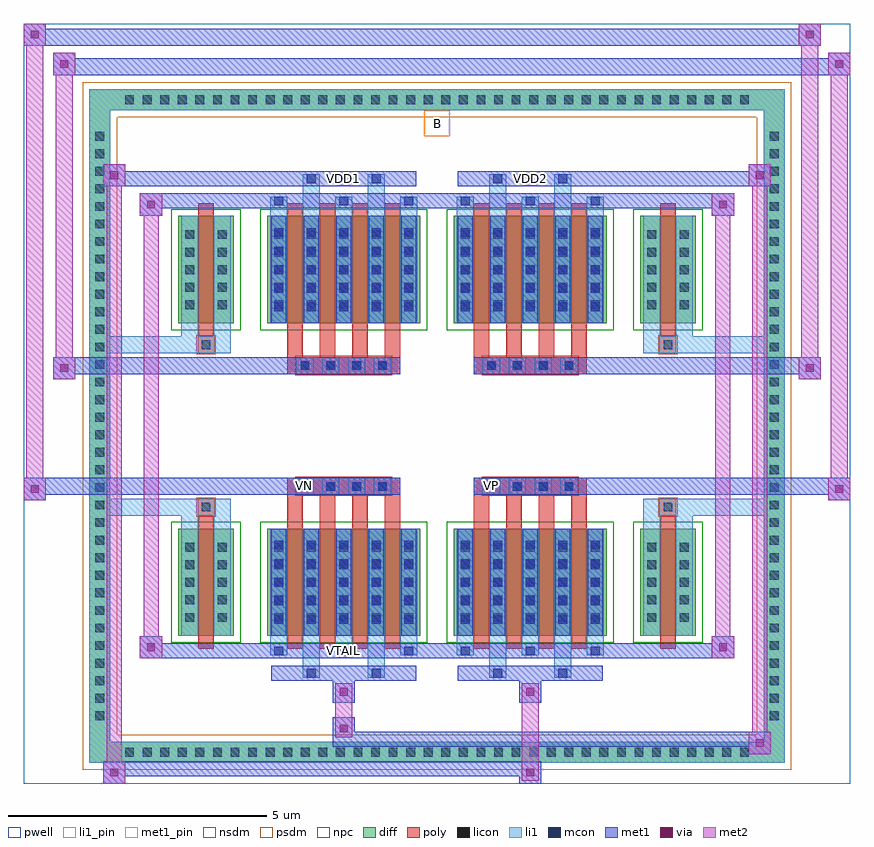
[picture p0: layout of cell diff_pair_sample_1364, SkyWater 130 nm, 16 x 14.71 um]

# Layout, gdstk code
import gdstk
lib = gdstk.Library(unit=1e-6, precision=5e-09)
def R(c, l, rs):  # rectangles x0, y0, x1, y1
    for r in rs: c.add(gdstk.rectangle(r[:2], r[2:], *l))
def A(c, l, x, y, w, h, nx, ny, dx, dy):  # array of equal rectangles
    R(c, l, [(x+i*dx, y+j*dy, x+i*dx+w, y+j*dy+h) for i in range(nx) for j in range(ny)])
def P(c, l, *ps):  # polygons
    for p in ps: c.add(gdstk.Polygon(p, *l))
pwell = (64, 44)
diff = (65, 20)
poly = (66, 20)
licon = (66, 44)
li1_pin = (67, 16)
li1 = (67, 20)
mcon = (67, 44)
met1_pin = (68, 16)
met1 = (68, 20)
via = (68, 44)
met2 = (69, 20)
nsdm = (93, 44)
psdm = (94, 20)
npc = (95, 20)

diff_pair_sample_1364 = lib.new_cell('diff_pair_sample_1364')
R(diff_pair_sample_1364, pwell, [(-8,-6.92,8,7.79), (-5.32,-5.11,-0.01,-0.805), (0.01,-5.11,5.32,-0.805), (-5.32,0.805,-0.01,5.11), (0.01,0.805,5.32,5.11)])
A(diff_pair_sample_1364, diff, -6.155, -6.52, 0.41, 0.41, 36, 2, 0.34, 12.63)
A(diff_pair_sample_1364, diff, -6.73, -5.815, 0.41, 0.41, 1, 34, 0, 0.34)
A(diff_pair_sample_1364, diff, 6.32, -5.815, 0.41, 0.41, 1, 34, 0, 0.34)
R(diff_pair_sample_1364, diff, [(-6.155,-6.52,6.155,-6.11), (-6.73,-5.815,-6.32,5.815), (6.32,-5.815,6.73,5.815), (-5.01,-4.065,-3.93,-1.985), (-3.29,-4.065,-0.32,-1.985), (0.32,-4.065,3.29,-1.985), (3.93,-4.065,5.01,-1.985), (-5.01,1.985,-3.93,4.065), (-3.29,1.985,-0.32,4.065), (0.32,1.985,3.29,4.065), (3.93,1.985,5.01,4.065), (-6.155,6.11,6.155,6.52)])
P(diff_pair_sample_1364, diff, [(6.73,6.52),(-6.73,6.52),(-6.73,-6.11),(-6.32,-6.11),(-6.32,6.11),(6.32,6.11),(6.32,-6.11),(-6.32,-6.11),(-6.73,-6.11),(-6.73,-6.52),(6.73,-6.52)])
A(diff_pair_sample_1364, poly, -2.9, -4.315, 0.3, 2.58, 4, 2, 0.63, 6.05)
A(diff_pair_sample_1364, poly, 0.71, -4.315, 0.3, 2.58, 4, 2, 0.63, 6.05)
A(diff_pair_sample_1364, poly, -2.9, -1.735, 0.3, 0.4, 4, 2, 0.63, 3.07)
A(diff_pair_sample_1364, poly, 0.71, -1.735, 0.3, 0.4, 4, 2, 0.63, 3.07)
A(diff_pair_sample_1364, poly, -2.72, -1.335, 0.33, 0.33, 4, 2, 0.5, 2.34)
A(diff_pair_sample_1364, poly, 0.89, -1.335, 0.33, 0.33, 4, 2, 0.5, 2.34)
R(diff_pair_sample_1364, poly, [(-4.62,-4.315,-4.32,-1.735), (4.32,-4.315,4.62,-1.735), (-4.635,-1.735,-4.305,-1.405), (-4.635,-1.735,-4.305,-1.405), (4.305,-1.735,4.635,-1.405), (4.305,-1.735,4.635,-1.405), (-2.9,-1.335,-0.71,-1.005), (0.71,-1.335,2.9,-1.005), (-2.9,1.005,-0.71,1.335), (0.71,1.005,2.9,1.335), (-4.635,1.405,-4.305,1.735), (-4.635,1.405,-4.305,1.735), (4.305,1.405,4.635,1.735), (4.305,1.405,4.635,1.735), (-4.62,1.735,-4.32,4.315), (4.32,1.735,4.62,4.315)])
A(diff_pair_sample_1364, licon, -6.035, -6.4, 0.17, 0.17, 36, 2, 0.34, 12.63)
A(diff_pair_sample_1364, licon, -6.61, -5.695, 0.17, 0.17, 1, 34, 0, 0.34)
A(diff_pair_sample_1364, licon, 6.44, -5.695, 0.17, 0.17, 1, 34, 0, 0.34)
A(diff_pair_sample_1364, licon, -4.87, -3.79, 0.17, 0.17, 1, 5, 0, 0.34)
A(diff_pair_sample_1364, licon, -4.24, -3.79, 0.17, 0.17, 1, 5, 0, 0.34)
A(diff_pair_sample_1364, licon, -3.15, -3.79, 0.17, 0.17, 5, 5, 0.63, 0.34)
A(diff_pair_sample_1364, licon, 0.46, -3.79, 0.17, 0.17, 5, 5, 0.63, 0.34)
A(diff_pair_sample_1364, licon, 4.07, -3.79, 0.17, 0.17, 1, 5, 0, 0.34)
A(diff_pair_sample_1364, licon, 4.7, -3.79, 0.17, 0.17, 1, 5, 0, 0.34)
A(diff_pair_sample_1364, licon, -2.64, -1.255, 0.17, 0.17, 4, 2, 0.5, 2.34)
A(diff_pair_sample_1364, licon, 0.97, -1.255, 0.17, 0.17, 4, 2, 0.5, 2.34)
A(diff_pair_sample_1364, licon, -4.87, 2.26, 0.17, 0.17, 1, 5, 0, 0.34)
A(diff_pair_sample_1364, licon, -4.24, 2.26, 0.17, 0.17, 1, 5, 0, 0.34)
A(diff_pair_sample_1364, licon, -3.15, 2.26, 0.17, 0.17, 5, 5, 0.63, 0.34)
A(diff_pair_sample_1364, licon, 0.46, 2.26, 0.17, 0.17, 5, 5, 0.63, 0.34)
A(diff_pair_sample_1364, licon, 4.07, 2.26, 0.17, 0.17, 1, 5, 0, 0.34)
A(diff_pair_sample_1364, licon, 4.7, 2.26, 0.17, 0.17, 1, 5, 0, 0.34)
R(diff_pair_sample_1364, licon, [(-4.555,-1.655,-4.385,-1.485), (4.385,-1.655,4.555,-1.485), (-4.555,1.485,-4.385,1.655), (4.385,1.485,4.555,1.655)])
R(diff_pair_sample_1364, li1_pin, [(-0.25,5.61,0.25,6.11)])
A(diff_pair_sample_1364, li1, -6.115, -6.48, 0.33, 0.33, 36, 2, 0.34, 12.63)
A(diff_pair_sample_1364, li1, -6.69, -5.775, 0.33, 0.33, 1, 34, 0, 0.34)
A(diff_pair_sample_1364, li1, 6.36, -5.775, 0.33, 0.33, 1, 34, 0, 0.34)
A(diff_pair_sample_1364, li1, -3.23, -4.44, 0.33, 0.375, 3, 2, 1.26, 8.505)
A(diff_pair_sample_1364, li1, -3.15, -4.44, 0.17, 0.17, 3, 2, 1.26, 8.71)
A(diff_pair_sample_1364, li1, 0.38, -4.44, 0.33, 0.375, 3, 2, 1.26, 8.505)
A(diff_pair_sample_1364, li1, 0.46, -4.44, 0.17, 0.17, 3, 2, 1.26, 8.71)
A(diff_pair_sample_1364, li1, -3.23, -4.065, 0.33, 2.08, 5, 2, 0.63, 6.05)
A(diff_pair_sample_1364, li1, 0.38, -4.065, 0.33, 2.08, 5, 2, 0.63, 6.05)
A(diff_pair_sample_1364, li1, -4.95, -3.87, 0.33, 0.33, 1, 5, 0, 0.34)
A(diff_pair_sample_1364, li1, -4.32, -3.87, 0.33, 0.33, 1, 5, 0, 0.34)
A(diff_pair_sample_1364, li1, -3.23, -3.87, 0.33, 0.33, 5, 5, 0.63, 0.34)
A(diff_pair_sample_1364, li1, 0.38, -3.87, 0.33, 0.33, 5, 5, 0.63, 0.34)
A(diff_pair_sample_1364, li1, 3.99, -3.87, 0.33, 0.33, 1, 5, 0, 0.34)
A(diff_pair_sample_1364, li1, 4.62, -3.87, 0.33, 0.33, 1, 5, 0, 0.34)
A(diff_pair_sample_1364, li1, -3.15, -3.83, 0.17, 0.17, 5, 5, 0.63, 0.36)
A(diff_pair_sample_1364, li1, -3.15, -3.83, 0.17, 1.61, 5, 2, 0.63, 6.05)
A(diff_pair_sample_1364, li1, 0.46, -3.83, 0.17, 0.17, 5, 5, 0.63, 0.36)
A(diff_pair_sample_1364, li1, 0.46, -3.83, 0.17, 1.61, 5, 2, 0.63, 6.05)
A(diff_pair_sample_1364, li1, -2.72, -1.335, 0.33, 0.33, 4, 2, 0.5, 2.34)
A(diff_pair_sample_1364, li1, 0.89, -1.335, 0.33, 0.33, 4, 2, 0.5, 2.34)
A(diff_pair_sample_1364, li1, -4.95, 2.18, 0.33, 0.33, 1, 5, 0, 0.34)
A(diff_pair_sample_1364, li1, -4.32, 2.18, 0.33, 0.33, 1, 5, 0, 0.34)
A(diff_pair_sample_1364, li1, -3.23, 2.18, 0.33, 0.33, 5, 5, 0.63, 0.34)
A(diff_pair_sample_1364, li1, 0.38, 2.18, 0.33, 0.33, 5, 5, 0.63, 0.34)
A(diff_pair_sample_1364, li1, 3.99, 2.18, 0.33, 0.33, 1, 5, 0, 0.34)
A(diff_pair_sample_1364, li1, 4.62, 2.18, 0.33, 0.33, 1, 5, 0, 0.34)
A(diff_pair_sample_1364, li1, -3.15, 2.22, 0.17, 0.17, 5, 5, 0.63, 0.36)
A(diff_pair_sample_1364, li1, 0.46, 2.22, 0.17, 0.17, 5, 5, 0.63, 0.36)
R(diff_pair_sample_1364, li1, [(-6.73,-6.52,-6.32,-6.11), (-6.73,-6.52,-6.32,-6.11), (-6.32,-6.52,6.32,-6.11), (6.32,-6.52,6.73,-6.11), (6.32,-6.52,6.73,-6.11), (-6.73,-6.11,-6.32,6.11), (6.32,-6.11,6.73,6.11), (-2.6,-4.87,-2.27,-4.065), (-2.52,-4.87,-2.35,-4.7), (-1.34,-4.87,-1.01,-4.065), (-1.26,-4.87,-1.09,-4.7), (1.01,-4.87,1.34,-4.065), (1.09,-4.87,1.26,-4.7), (2.27,-4.87,2.6,-4.065), (2.35,-4.87,2.52,-4.7), (-4.95,-4.065,-4.62,-1.985), (-4.32,-4.065,-3.99,-1.985), (3.99,-4.065,4.32,-1.985), (4.62,-4.065,4.95,-1.985), (-4.95,-1.985,-4.62,-1.405), (-4.32,-1.985,-3.99,-1.405), (3.99,-1.985,4.32,-1.405), (4.62,-1.985,4.95,-1.405), (-6.73,-1.735,-4.635,-1.405), (-4.95,-1.735,-4.635,-1.405), (-4.635,-1.735,-4.305,-1.405), (-4.305,-1.735,-3.99,-1.405), (3.99,-1.735,4.305,-1.405), (4.305,-1.735,4.635,-1.405), (4.305,-1.735,6.73,-1.405), (4.635,-1.735,4.95,-1.405), (-6.73,1.405,-4.635,1.735), (-4.95,1.405,-4.635,1.735), (-4.95,1.405,-4.62,1.985), (-4.635,1.405,-4.305,1.735), (-4.32,1.405,-3.99,1.985), (-4.305,1.405,-3.99,1.735), (3.99,1.405,4.305,1.735), (3.99,1.405,4.32,1.985), (4.305,1.405,4.635,1.735), (4.305,1.405,6.73,1.735), (4.62,1.405,4.95,1.985), (4.635,1.405,4.95,1.735), (-4.95,1.985,-4.62,4.065), (-4.32,1.985,-3.99,4.065), (3.99,1.985,4.32,4.065), (4.62,1.985,4.95,4.065), (-2.6,4.065,-2.27,4.87), (-1.34,4.065,-1.01,4.87), (1.01,4.065,1.34,4.87), (2.27,4.065,2.6,4.87), (-2.52,4.7,-2.35,4.87), (-1.26,4.7,-1.09,4.87), (1.09,4.7,1.26,4.87), (2.35,4.7,2.52,4.87), (-6.73,6.11,-6.32,6.52), (-6.73,6.11,-6.32,6.52), (-6.32,6.11,6.32,6.52), (6.32,6.11,6.73,6.52), (6.32,6.11,6.73,6.52)])
A(diff_pair_sample_1364, mcon, -3.15, -4.44, 0.17, 0.17, 3, 2, 1.26, 8.71)
A(diff_pair_sample_1364, mcon, 0.46, -4.44, 0.17, 0.17, 3, 2, 1.26, 8.71)
A(diff_pair_sample_1364, mcon, -3.15, -3.83, 0.17, 0.17, 5, 5, 0.63, 0.36)
A(diff_pair_sample_1364, mcon, 0.46, -3.83, 0.17, 0.17, 5, 5, 0.63, 0.36)
A(diff_pair_sample_1364, mcon, -2.64, -1.255, 0.17, 0.17, 4, 2, 0.5, 2.34)
A(diff_pair_sample_1364, mcon, 0.97, -1.255, 0.17, 0.17, 4, 2, 0.5, 2.34)
A(diff_pair_sample_1364, mcon, -3.15, 2.22, 0.17, 0.17, 5, 5, 0.63, 0.36)
A(diff_pair_sample_1364, mcon, 0.46, 2.22, 0.17, 0.17, 5, 5, 0.63, 0.36)
R(diff_pair_sample_1364, mcon, [(-2.52,-4.87,-2.35,-4.7), (-1.26,-4.87,-1.09,-4.7), (1.09,-4.87,1.26,-4.7), (2.35,-4.87,2.52,-4.7), (-2.52,4.7,-2.35,4.87), (-1.26,4.7,-1.09,4.87), (1.09,4.7,1.26,4.87), (2.35,4.7,2.52,4.87)])
R(diff_pair_sample_1364, met1_pin, [(-1.94,-4.48,-1.67,-4.21), (-2.69,-1.295,-2.42,-1.025), (0.92,-1.295,1.19,-1.025), (-1.94,4.66,-1.67,4.93), (1.67,4.66,1.94,4.93)])
A(diff_pair_sample_1364, met1, -3.21, -4.5, 0.29, 0.29, 3, 2, 1.26, 8.71)
A(diff_pair_sample_1364, met1, 0.4, -4.5, 0.29, 0.29, 3, 2, 1.26, 8.71)
A(diff_pair_sample_1364, met1, -3.21, -4.065, 0.29, 2.08, 5, 2, 0.63, 6.05)
A(diff_pair_sample_1364, met1, 0.4, -4.065, 0.29, 2.08, 5, 2, 0.63, 6.05)
A(diff_pair_sample_1364, met1, -3.21, -3.89, 0.29, 0.29, 5, 5, 0.63, 0.36)
A(diff_pair_sample_1364, met1, 0.4, -3.89, 0.29, 0.29, 5, 5, 0.63, 0.36)
A(diff_pair_sample_1364, met1, -2.7, -1.315, 0.29, 0.29, 4, 2, 0.5, 2.34)
A(diff_pair_sample_1364, met1, 0.91, -1.315, 0.29, 0.29, 4, 2, 0.5, 2.34)
A(diff_pair_sample_1364, met1, -3.21, 2.16, 0.29, 0.29, 5, 5, 0.63, 0.36)
A(diff_pair_sample_1364, met1, 0.4, 2.16, 0.29, 0.29, 5, 5, 0.63, 0.36)
R(diff_pair_sample_1364, met1, [(-6.46,-6.92,-6.03,-6.49), (1.59,-6.92,2.02,-6.49), (-6.46,-6.78,2.02,-6.49), (6.03,-6.35,6.46,-5.92), (-2.02,-6.21,6.46,-5.92), (-2.02,-6.07,-1.59,-5.64), (-2.02,-5.36,-1.59,-4.93), (1.59,-5.36,2.02,-4.93), (-3.21,-4.93,-0.4,-4.64), (-2.58,-4.93,-2.29,-4.64), (-1.32,-4.93,-1.03,-4.64), (0.4,-4.93,3.21,-4.64), (1.03,-4.93,1.32,-4.64), (2.29,-4.93,2.58,-4.64), (-5.75,-4.5,-5.32,-4.07), (-5.75,-4.5,-3.21,-4.21), (-3.21,-4.5,-0.4,-4.21), (-0.4,-4.5,0.4,-4.21), (0.4,-4.5,3.21,-4.21), (3.21,-4.5,5.75,-4.21), (5.32,-4.5,5.75,-4.07), (-8,-1.435,-7.57,-1.005), (7.57,-1.435,8,-1.005), (-8,-1.335,-0.71,-1.005), (-2.9,-1.335,-0.71,-1.005), (0.71,-1.335,2.9,-1.005), (0.71,-1.335,8,-1.005), (-7.43,0.905,-7,1.335), (7,0.905,7.43,1.335), (-7.43,1.005,-2.9,1.335), (-2.9,1.005,-0.71,1.335), (0.71,1.005,2.9,1.335), (2.9,1.005,7.43,1.335), (-5.75,4.07,-5.32,4.5), (5.32,4.07,5.75,4.5), (-5.75,4.21,-3.21,4.5), (-3.21,4.21,-0.4,4.5), (-0.4,4.21,0.4,4.5), (0.4,4.21,3.21,4.5), (3.21,4.21,5.75,4.5), (-6.46,4.64,-6.03,5.07), (-6.46,4.64,-3.21,4.93), (-3.21,4.64,-0.4,4.93), (-2.58,4.64,-2.29,4.93), (-1.32,4.64,-1.03,4.93), (0.4,4.64,3.21,4.93), (1.03,4.64,1.32,4.93), (2.29,4.64,2.58,4.93), (3.21,4.64,6.46,4.93), (6.03,4.64,6.46,5.07), (-7.43,6.79,-7,7.22), (-7.43,6.79,-5.32,7.12), (-5.32,6.79,5.32,7.12), (5.32,6.79,8,7.12), (7.57,6.79,8,7.22), (-8,7.36,-7.57,7.79), (-8,7.36,-5.32,7.69), (-5.32,7.36,5.32,7.69), (5.32,7.36,7.43,7.69), (7,7.36,7.43,7.79)])
R(diff_pair_sample_1364, via, [(-6.32,-6.78,-6.17,-6.63), (1.73,-6.78,1.88,-6.63), (6.17,-6.21,6.32,-6.06), (-1.88,-5.93,-1.73,-5.78), (-1.88,-5.22,-1.73,-5.07), (1.73,-5.22,1.88,-5.07), (-5.61,-4.36,-5.46,-4.21), (5.46,-4.36,5.61,-4.21), (-7.86,-1.295,-7.71,-1.145), (7.71,-1.295,7.86,-1.145), (-7.29,1.045,-7.14,1.195), (7.14,1.045,7.29,1.195), (-5.61,4.21,-5.46,4.36), (5.46,4.21,5.61,4.36), (-6.32,4.78,-6.17,4.93), (6.17,4.78,6.32,4.93), (-7.29,6.93,-7.14,7.08), (7.71,6.93,7.86,7.08), (-7.86,7.5,-7.71,7.65), (7.14,7.5,7.29,7.65)])
R(diff_pair_sample_1364, met2, [(-6.46,-6.92,-6.03,-6.49), (-6.39,-6.92,-6.1,5.07), (-6.1,-6.92,-6.03,-6.49), (-6.41,-6.87,-6.08,-6.54), (1.64,-6.87,1.97,-6.54), (1.64,-6.54,1.97,-5.31), (6.03,-6.35,6.46,-5.92), (6.1,-6.35,6.39,5.07), (6.39,-6.35,6.46,-5.92), (6.08,-6.3,6.41,-5.97), (-1.97,-6.02,-1.64,-5.69), (-1.97,-5.69,-1.64,-5.31), (-1.97,-5.31,-1.64,-4.98), (1.64,-5.31,1.97,-4.98), (-5.75,-4.5,-5.32,-4.07), (-5.68,-4.5,-5.39,4.5), (-5.39,-4.5,-5.32,-4.07), (5.32,-4.5,5.75,-4.07), (5.39,-4.5,5.68,4.5), (5.68,-4.5,5.75,-4.07), (-5.7,-4.45,-5.37,-4.12), (5.37,-4.45,5.7,-4.12), (-8,-1.435,-7.57,-1.005), (-7.95,-1.435,-7.62,7.79), (-7.62,-1.435,-7.57,-1.005), (7.57,-1.435,8,-1.005), (7.62,-1.435,7.95,7.22), (7.95,-1.435,8,-1.005), (-7.95,-1.385,-7.62,-1.055), (7.62,-1.385,7.95,-1.055), (-7.43,0.905,-7,1.335), (-7.38,0.905,-7.05,7.22), (-7.05,0.905,-7,1.335), (7,0.905,7.43,1.335), (7.05,0.905,7.38,7.79), (7.38,0.905,7.43,1.335), (-7.38,0.955,-7.05,1.285), (7.05,0.955,7.38,1.285), (-5.75,4.07,-5.32,4.5), (-5.39,4.07,-5.32,4.5), (5.32,4.07,5.75,4.5), (5.68,4.07,5.75,4.5), (-5.7,4.12,-5.37,4.45), (5.37,4.12,5.7,4.45), (-6.46,4.64,-6.03,5.07), (-6.1,4.64,-6.03,5.07), (6.03,4.64,6.46,5.07), (6.39,4.64,6.46,5.07), (-6.41,4.69,-6.08,5.02), (6.08,4.69,6.41,5.02), (-7.43,6.79,-7,7.22), (-7.05,6.79,-7,7.22), (7.57,6.79,8,7.22), (7.95,6.79,8,7.22), (-7.38,6.84,-7.05,7.17), (7.62,6.84,7.95,7.17), (-8,7.36,-7.57,7.79), (-7.62,7.36,-7.57,7.79), (7,7.36,7.43,7.79), (7.38,7.36,7.43,7.79), (-7.95,7.41,-7.62,7.74), (7.05,7.41,7.38,7.74)])
R(diff_pair_sample_1364, nsdm, [(-5.14,-4.195,-3.8,-1.855), (-3.42,-4.195,-0.19,-1.855), (0.19,-4.195,3.42,-1.855), (3.8,-4.195,5.14,-1.855), (-5.14,1.855,-3.8,4.195), (-3.42,1.855,-0.19,4.195), (0.19,1.855,3.42,4.195), (3.8,1.855,5.14,4.195)])
P(diff_pair_sample_1364, psdm, [(6.86,6.65),(-6.86,6.65),(-6.86,-5.98),(-6.19,-5.98),(-6.19,5.98),(6.19,5.98),(6.19,-5.98),(-6.19,-5.98),(-6.86,-5.98),(-6.86,-6.65),(6.86,-6.65)])
A(diff_pair_sample_1364, npc, -2.74, -1.355, 0.37, 0.37, 4, 2, 0.5, 2.34)
A(diff_pair_sample_1364, npc, 0.87, -1.355, 0.37, 0.37, 4, 2, 0.5, 2.34)
R(diff_pair_sample_1364, npc, [(-4.655,-1.755,-4.285,-1.385), (4.285,-1.755,4.655,-1.385), (-2.74,-1.355,-1.87,-0.985), (-2.74,-1.355,-1.87,-0.985), (-2.24,-1.355,-1.37,-0.985), (-2.24,-1.355,-1.37,-0.985), (-1.74,-1.355,-0.87,-0.985), (-1.74,-1.355,-0.87,-0.985), (0.87,-1.355,1.74,-0.985), (0.87,-1.355,1.74,-0.985), (1.37,-1.355,2.24,-0.985), (1.37,-1.355,2.24,-0.985), (1.87,-1.355,2.74,-0.985), (1.87,-1.355,2.74,-0.985), (-2.74,0.985,-1.87,1.355), (-2.74,0.985,-1.87,1.355), (-2.24,0.985,-1.37,1.355), (-2.24,0.985,-1.37,1.355), (-1.74,0.985,-0.87,1.355), (-1.74,0.985,-0.87,1.355), (0.87,0.985,1.74,1.355), (0.87,0.985,1.74,1.355), (1.37,0.985,2.24,1.355), (1.37,0.985,2.24,1.355), (1.87,0.985,2.74,1.355), (1.87,0.985,2.74,1.355), (-4.655,1.385,-4.285,1.755), (4.285,1.385,4.655,1.755)])
diff_pair_sample_1364.add(gdstk.Label('VTAIL', (-1.805,-4.345), layer=68, texttype=5))
diff_pair_sample_1364.add(gdstk.Label('VN', (-2.555,-1.16), layer=68, texttype=5))
diff_pair_sample_1364.add(gdstk.Label('VP', (1.055,-1.16), layer=68, texttype=5))
diff_pair_sample_1364.add(gdstk.Label('B', (0,5.86), layer=67, texttype=5))
diff_pair_sample_1364.add(gdstk.Label('VDD2', (1.805,4.795), layer=68, texttype=5))
diff_pair_sample_1364.add(gdstk.Label('VDD1', (-1.805,4.795), layer=68, texttype=5))

lib.write_gds('diff_pair_sample_1364.gds')
